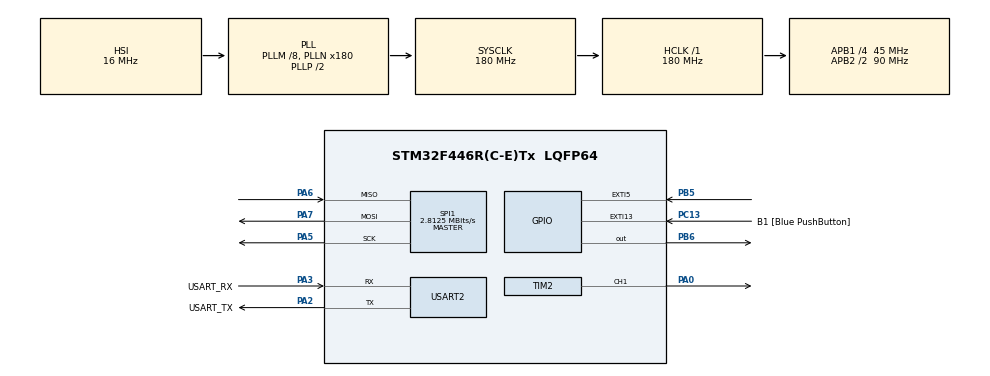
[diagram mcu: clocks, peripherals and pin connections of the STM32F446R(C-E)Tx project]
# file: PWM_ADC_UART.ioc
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Mcu.Family=STM32F4
Mcu.Name=STM32F446R(C-E)Tx
Mcu.Package=LQFP64
NVIC.EXTI9_5_IRQn=true\:0\:0\:false\:false\:true\:true\:true\:true
NVIC.PriorityGroup=NVIC_PRIORITYGROUP_0
NVIC.TIM2_IRQn=true\:0\:0\:false\:false\:true\:true\:true\:true
PA0-WKUP.Signal=S_TIM2_CH1_ETR
PA13.GPIO_Label=TMS
PA13.Mode=Serial_Wire
PA13.Signal=SYS_JTMS-SWDIO
PA14.GPIO_Label=TCK
PA14.Mode=Serial_Wire
PA14.Signal=SYS_JTCK-SWCLK
PA2.GPIO_Label=USART_TX
PA2.Mode=Asynchronous
PA2.Signal=USART2_TX
PA3.GPIO_Label=USART_RX
PA3.Mode=Asynchronous
PA3.Signal=USART2_RX
PA5.Mode=Full_Duplex_Master
PA5.Signal=SPI1_SCK
PA6.Mode=Full_Duplex_Master
PA6.Signal=SPI1_MISO
PA7.Mode=Full_Duplex_Master
PA7.Signal=SPI1_MOSI
PB3.GPIO_Label=SWO
PB3.Signal=SYS_JTDO-SWO
PB5.Signal=GPXTI5
PB6.Signal=GPIO_Output
PC13.GPIO_Label=B1 [Blue PushButton]
PC13.GPIO_ModeDefaultEXTI=GPIO_MODE_IT_FALLING
PC13.Signal=GPXTI13
PC14-OSC32_IN.Mode=LSE-External-Oscillator
PC14-OSC32_IN.Signal=RCC_OSC32_IN
PC15-OSC32_OUT.Mode=LSE-External-Oscillator
PC15-OSC32_OUT.Signal=RCC_OSC32_OUT
PH0-OSC_IN.Mode=HSE-External-Oscillator
PH0-OSC_IN.Signal=RCC_OSC_IN
PH1-OSC_OUT.Mode=HSE-External-Oscillator
PH1-OSC_OUT.Signal=RCC_OSC_OUT
ProjectManager.HeapSize=0x200
ProjectManager.StackSize=0x400
ProjectManager.TargetToolchain=STM32CubeIDE
RCC.48MHZClocksFreq_Value=84000000
RCC.AHBFreq_Value=180000000
RCC.APB1CLKDivider=RCC_HCLK_DIV4
RCC.APB1Freq_Value=45000000
RCC.APB1TimFreq_Value=90000000
RCC.APB2CLKDivider=RCC_HCLK_DIV2
RCC.APB2Freq_Value=90000000
RCC.APB2TimFreq_Value=180000000
RCC.CortexFreq_Value=180000000
RCC.FLatency-AdvancedSettings=FLASH_LATENCY_5
RCC.HCLKFreq_Value=180000000
RCC.HSE_VALUE=8000000
RCC.HSI_VALUE=16000000
RCC.PLLM=8
RCC.PLLN=180
RCC.SYSCLKFreq_VALUE=180000000
RCC.SYSCLKSource=RCC_SYSCLKSOURCE_PLLCLK
RCC.USBFreq_Value=180000000
RCC.VCOOutputFreq_Value=360000000
SH.S_TIM2_CH1_ETR.0=TIM2_CH1,PWM Generation1 CH1
SPI1.BaudRatePrescaler=SPI_BAUDRATEPRESCALER_32
SPI1.CLKPhase=SPI_PHASE_2EDGE
SPI1.CalculateBaudRate=2.8125 MBits/s
SPI1.Direction=SPI_DIRECTION_2LINES
SPI1.Mode=SPI_MODE_MASTER
SPI1.VirtualType=VM_MASTER
TIM2.Channel-PWM\ Generation1\ CH1=TIM_CHANNEL_1
USART2.VirtualMode=VM_ASYNC
VP_TIM2_VS_ClockSourceINT.Mode=Internal
board=NUCLEO-F446RE

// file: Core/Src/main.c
/* USER CODE BEGIN Header */

/**
  ******************************************************************************
  * @file           : main.c
  * @brief          : Main program body
  ******************************************************************************
  * @attention
  *
  * Copyright (c) 2026 STMicroelectronics.
  * All rights reserved.
  *
  * This software is licensed under terms that can be found in the LICENSE file
  * in the root directory of this software component.
  * If no LICENSE file comes with this software, it is provided AS-IS.
  *
  ******************************************************************************
  */

/* USER CODE END Header */

#include "main.h"

/* USER CODE BEGIN Includes */
#include "ADS1220.h"
#include <string.h>
#include <stdio.h>
/* USER CODE END Includes */

TIM_HandleTypeDef htim2;
UART_HandleTypeDef huart2;
SPI_HandleTypeDef hspi1;

/* USER CODE BEGIN PV */
volatile uint8_t pulse_count = 0U;
volatile uint8_t pwm_enabled = 0U;
volatile uint8_t adc_read_request = 0U;
volatile uint8_t button_message_request = 0U;

static uint32_t last_button_tick = 0U;

static int32_t adc_raw_value = 0;
static int32_t adc_voltage_mV = 0;
/* USER CODE END PV */

void SystemClock_Config(void);
static void MX_GPIO_Init(void);
static void MX_TIM2_Init(void);
static void MX_USART2_UART_Init(void);
static void MX_SPI1_Init(void);

/* USER CODE BEGIN PFP */
static void TIM2_PWM_Start_Config(void);
static void Start_PWM(void);
static void Stop_PWM(void);
static void UART_Send(const char *message);
/* USER CODE END PFP */

/* USER CODE BEGIN 0 */
static void TIM2_PWM_Start_Config(void)
{
    __HAL_TIM_SET_AUTORELOAD(&htim2, 10069U);
    __HAL_TIM_SET_COMPARE(&htim2, TIM_CHANNEL_1, 70U);
    __HAL_TIM_SET_COUNTER(&htim2, 0U);
    __HAL_TIM_CLEAR_FLAG(&htim2, TIM_CHANNEL_1);
    __HAL_TIM_DISABLE_IT(&htim2, TIM_IT_UPDATE);
}
static void UART_Send(const char *message)
{
    HAL_UART_Transmit(&huart2,(uint8_t *)message, (uint16_t)strlen(message), HAL_MAX_DELAY);
}

static void Start_PWM(void)
{
    pulse_count = 0U;
    adc_read_request = 0U;

    TIM2_PWM_Start_Config();

    if (HAL_TIM_PWM_Start(&htim2, TIM_CHANNEL_1) != HAL_OK)
    {
        Error_Handler();
    }

    pwm_enabled = 1U;
    __HAL_TIM_ENABLE_IT(&htim2, TIM_IT_UPDATE);
}

static void Stop_PWM(void)
{/*command*/
    pwm_enabled = 0U;
    adc_read_request = 0U;

    __HAL_TIM_DISABLE_IT(&htim2, TIM_IT_UPDATE);

    if (HAL_TIM_PWM_Stop(&htim2, TIM_CHANNEL_1) != HAL_OK)
    {
        Error_Handler();
    }

    __HAL_TIM_SET_AUTORELOAD(&htim2, 10069U);
    __HAL_TIM_SET_COMPARE(&htim2, TIM_CHANNEL_1, 70U);
    __HAL_TIM_SET_COUNTER(&htim2, 0U);
    __HAL_TIM_CLEAR_FLAG(&htim2, TIM_FLAG_UPDATE);

    pulse_count = 0U;
}

void HAL_GPIO_EXTI_Callback(uint16_t GPIO_Pin)
{
    uint32_t current_tick;

    if (GPIO_Pin != GPIO_PIN_13)
    {
        return;
    }

    current_tick = HAL_GetTick();

    if ((current_tick - last_button_tick) < 200U)
    {
        return;
    }

    last_button_tick = current_tick;

    if (pwm_enabled == 0U)
    {
        Start_PWM();
        button_message_request = 1U;
    }
    else
    {
        Stop_PWM();
        button_message_request = 2U;
    }
}

/* USER CODE END 0 */

int main(void)
{
    HAL_Init();

    SystemClock_Config();

    MX_GPIO_Init();
    MX_TIM2_Init();
    MX_USART2_UART_Init();
    MX_SPI1_Init();

    /* USER CODE BEGIN 2 */
    pwm_enabled = 0U;
    pulse_count = 0U;
    adc_read_request = 0U;
    button_message_request = 0U;

    TIM2_PWM_Start_Config();

    if (ADS1220_Init() == HAL_OK)
    {
        UART_Send("ADS1220 initialized\r\n");
    }
    else
    {
        UART_Send("ADS1220 initialization failed\r\n");
    }

    UART_Send("System Ready\r\n");
    UART_Send("Press user button to start PWM\r\n");
    /* USER CODE END 2 */

    /* Infinite loop */
    /* USER CODE BEGIN WHILE */
    while (1)
    {
        /* Print button status message */
        if (button_message_request != 0U)
        {
            uint8_t button_status = button_message_request;
            button_message_request = 0U;

            if (button_status == 1U)
            {
                UART_Send("Button pressed - ADC started\r\n");
            }
            else if (button_status == 2U)
            {
                UART_Send("Button pressed - ADC stopped\r\n");
            }
        }

        /* Read ADC only during the quiet interval */
        if (pwm_enabled != 0U && adc_read_request != 0U)
        {
            adc_read_request = 0U;

            if (ADS1220_ReadVoltage(&adc_raw_value,
                                    &adc_voltage_mV) == HAL_OK)
            {
                /* Button may have stopped PWM during ADC conversion */
                if (pwm_enabled != 0U)
                {
                    char message[100];

                    snprintf(message, sizeof(message),"ADC Raw: %ld, Voltage: %ld.%03ld V\r\n", (long)adc_raw_value,(long)(adc_voltage_mV / 1000),(long)(adc_voltage_mV % 1000));

                    UART_Send(message);
                }
            }
            else
            {
                if (pwm_enabled != 0U)
                {
                    UART_Send("ADC read failed\r\n");
                }
            }
        }

        /* USER CODE END WHILE */

    }
}

void SystemClock_Config(void)
{
    RCC_OscInitTypeDef RCC_OscInitStruct = {0};
    RCC_ClkInitTypeDef RCC_ClkInitStruct = {0};

    /** Configure the main internal regulator output voltage */
    __HAL_RCC_PWR_CLK_ENABLE();
    __HAL_PWR_VOLTAGESCALING_CONFIG(PWR_REGULATOR_VOLTAGE_SCALE1);

    /** Initialize the RCC Oscillators */
    RCC_OscInitStruct.OscillatorType = RCC_OSCILLATORTYPE_HSI;
    RCC_OscInitStruct.HSIState = RCC_HSI_ON;
    RCC_OscInitStruct.HSICalibrationValue =
        RCC_HSICALIBRATION_DEFAULT;
    RCC_OscInitStruct.PLL.PLLState = RCC_PLL_ON;
    RCC_OscInitStruct.PLL.PLLSource = RCC_PLLSOURCE_HSI;
    RCC_OscInitStruct.PLL.PLLM = 8;
    RCC_OscInitStruct.PLL.PLLN = 180;
    RCC_OscInitStruct.PLL.PLLP = RCC_PLLP_DIV2;
    RCC_OscInitStruct.PLL.PLLQ = 2;
    RCC_OscInitStruct.PLL.PLLR = 2;

    if (HAL_RCC_OscConfig(&RCC_OscInitStruct) != HAL_OK)
    {
        Error_Handler();
    }

    /** Activate Over-Drive mode */
    if (HAL_PWREx_EnableOverDrive() != HAL_OK)
    {
        Error_Handler();
    }

    /** Initialize CPU, AHB and APB bus clocks */
    RCC_ClkInitStruct.ClockType = RCC_CLOCKTYPE_HCLK |
                                  RCC_CLOCKTYPE_SYSCLK |
                                  RCC_CLOCKTYPE_PCLK1 |
                                  RCC_CLOCKTYPE_PCLK2;

    RCC_ClkInitStruct.SYSCLKSource = RCC_SYSCLKSOURCE_PLLCLK;
    RCC_ClkInitStruct.AHBCLKDivider = RCC_SYSCLK_DIV1;
    RCC_ClkInitStruct.APB1CLKDivider = RCC_HCLK_DIV4;
    RCC_ClkInitStruct.APB2CLKDivider = RCC_HCLK_DIV2;

    if (HAL_RCC_ClockConfig(&RCC_ClkInitStruct,
                            FLASH_LATENCY_5) != HAL_OK)
    {
        Error_Handler();
    }
}

static void MX_TIM2_Init(void)
{
    TIM_ClockConfigTypeDef sClockSourceConfig = {0};
    TIM_MasterConfigTypeDef sMasterConfig = {0};
    TIM_OC_InitTypeDef sConfigOC = {0};

    htim2.Instance = TIM2;
    htim2.Init.Prescaler = 89;
    htim2.Init.CounterMode = TIM_COUNTERMODE_UP;
    htim2.Init.Period = 10069;
    htim2.Init.ClockDivision = TIM_CLOCKDIVISION_DIV1;
    htim2.Init.AutoReloadPreload =
        TIM_AUTORELOAD_PRELOAD_DISABLE;

    if (HAL_TIM_Base_Init(&htim2) != HAL_OK)
    {
        Error_Handler();
    }

    sClockSourceConfig.ClockSource = TIM_CLOCKSOURCE_INTERNAL;

    if (HAL_TIM_ConfigClockSource(&htim2,
                                  &sClockSourceConfig) != HAL_OK)
    {
        Error_Handler();
    }

    if (HAL_TIM_PWM_Init(&htim2) != HAL_OK)
    {
        Error_Handler();
    }

    sMasterConfig.MasterOutputTrigger = TIM_TRGO_RESET;
    sMasterConfig.MasterSlaveMode = TIM_MASTERSLAVEMODE_DISABLE;

    if (HAL_TIMEx_MasterConfigSynchronization(
            &htim2, &sMasterConfig) != HAL_OK)
    {
        Error_Handler();
    }

    sConfigOC.OCMode = TIM_OCMODE_PWM1;
    sConfigOC.Pulse = 70;
    sConfigOC.OCPolarity = TIM_OCPOLARITY_LOW;
    sConfigOC.OCFastMode = TIM_OCFAST_DISABLE;

    if (HAL_TIM_PWM_ConfigChannel(&htim2,
                                  &sConfigOC,
                                  TIM_CHANNEL_1) != HAL_OK)
    {
        Error_Handler();
    }

    HAL_TIM_MspPostInit(&htim2);
}

static void MX_USART2_UART_Init(void)
{
    huart2.Instance = USART2;
    huart2.Init.BaudRate = 115200;
    huart2.Init.WordLength = UART_WORDLENGTH_8B;
    huart2.Init.StopBits = UART_STOPBITS_1;
    huart2.Init.Parity = UART_PARITY_NONE;
    huart2.Init.Mode = UART_MODE_TX_RX;
    huart2.Init.HwFlowCtl = UART_HWCONTROL_NONE;
    huart2.Init.OverSampling = UART_OVERSAMPLING_16;

    if (HAL_UART_Init(&huart2) != HAL_OK)
    {
        Error_Handler();
    }
}

static void MX_SPI1_Init(void)
{
    GPIO_InitTypeDef GPIO_InitStruct = {0};

    __HAL_RCC_SPI1_CLK_ENABLE();
    __HAL_RCC_GPIOA_CLK_ENABLE();

    GPIO_InitStruct.Pin = GPIO_PIN_5 |
                          GPIO_PIN_6 |
                          GPIO_PIN_7;
    GPIO_InitStruct.Mode = GPIO_MODE_AF_PP;
    GPIO_InitStruct.Pull = GPIO_NOPULL;
    GPIO_InitStruct.Speed = GPIO_SPEED_FREQ_VERY_HIGH;
    GPIO_InitStruct.Alternate = GPIO_AF5_SPI1;

    HAL_GPIO_Init(GPIOA, &GPIO_InitStruct);

    hspi1.Instance = SPI1;
    hspi1.Init.Mode = SPI_MODE_MASTER;
    hspi1.Init.Direction = SPI_DIRECTION_2LINES;
    hspi1.Init.DataSize = SPI_DATASIZE_8BIT;
    hspi1.Init.CLKPolarity = SPI_POLARITY_LOW;
    hspi1.Init.CLKPhase = SPI_PHASE_2EDGE;
    hspi1.Init.NSS = SPI_NSS_SOFT;
    hspi1.Init.BaudRatePrescaler = SPI_BAUDRATEPRESCALER_64;
    hspi1.Init.FirstBit = SPI_FIRSTBIT_MSB;
    hspi1.Init.TIMode = SPI_TIMODE_DISABLE;
    hspi1.Init.CRCCalculation = SPI_CRCCALCULATION_DISABLE;
    hspi1.Init.CRCPolynomial = 10;

    if (HAL_SPI_Init(&hspi1) != HAL_OK)
    {
        Error_Handler();
    }
}

static void MX_GPIO_Init(void)
{
    GPIO_InitTypeDef GPIO_InitStruct = {0};

    __HAL_RCC_GPIOC_CLK_ENABLE();
    __HAL_RCC_GPIOH_CLK_ENABLE();
    __HAL_RCC_GPIOA_CLK_ENABLE();
    __HAL_RCC_GPIOB_CLK_ENABLE();

    GPIO_InitStruct.Pin = GPIO_PIN_13;
    GPIO_InitStruct.Mode = GPIO_MODE_IT_RISING;
    GPIO_InitStruct.Pull = GPIO_NOPULL;
    HAL_GPIO_Init(GPIOC, &GPIO_InitStruct);

    HAL_NVIC_SetPriority(EXTI15_10_IRQn, 0, 0);
    HAL_NVIC_EnableIRQ(EXTI15_10_IRQn);

    HAL_GPIO_WritePin(GPIOB, GPIO_PIN_6, GPIO_PIN_SET);

    GPIO_InitStruct.Pin = GPIO_PIN_6;
    GPIO_InitStruct.Mode = GPIO_MODE_OUTPUT_PP;
    GPIO_InitStruct.Pull = GPIO_NOPULL;
    GPIO_InitStruct.Speed = GPIO_SPEED_FREQ_HIGH;
    HAL_GPIO_Init(GPIOB, &GPIO_InitStruct);

    GPIO_InitStruct.Pin = GPIO_PIN_5;
    GPIO_InitStruct.Mode = GPIO_MODE_INPUT;
    GPIO_InitStruct.Pull = GPIO_NOPULL;
    HAL_GPIO_Init(GPIOB, &GPIO_InitStruct);
}

/* USER CODE BEGIN 4 */

void HAL_TIM_PeriodElapsedCallback(TIM_HandleTypeDef *htim)
{
    if (htim->Instance != TIM2)
    {
        return;
    }

    if (pwm_enabled == 0U)
    {
        return;
    }

    if (pulse_count < 4U)
    {
        pulse_count++;

        if (pulse_count == 4U)
        {
            __HAL_TIM_SET_COMPARE(&htim2, TIM_CHANNEL_1, 0U);
            __HAL_TIM_SET_AUTORELOAD(&htim2, 557999U);
            __HAL_TIM_SET_COUNTER(&htim2, 0U);

            /* Request ADC reading at the beginning of the quiet interval */
            adc_read_request = 1U;
        }
    }
    else
    {
        pulse_count = 0U;

        __HAL_TIM_SET_AUTORELOAD(&htim2, 10069U);
        __HAL_TIM_SET_COMPARE(&htim2, TIM_CHANNEL_1, 70U);
        __HAL_TIM_SET_COUNTER(&htim2, 0U);
    }
}

/* USER CODE END 4 */

void Error_Handler(void)
{
    __disable_irq();
    while (1)
    {
    }
}

#ifdef USE_FULL_ASSERT
/**
  * @brief Reports the name of the source file and the source line number
  *        where the assert_param error has occurred.
  * @param file: pointer to the source file name
  * @param line: assert_param error line number
  * @retval None
  */
void assert_failed(uint8_t *file, uint32_t line)
{
    /* USER CODE BEGIN 6 */
    /* User can add implementation to report the name of the source file and
       the source line number, e.g. printf("Wrong parameters value: file %s on line %d\r\n", file, line) */
    /* USER CODE END 6 */
}
#endif /* USE_FULL_ASSERT */
